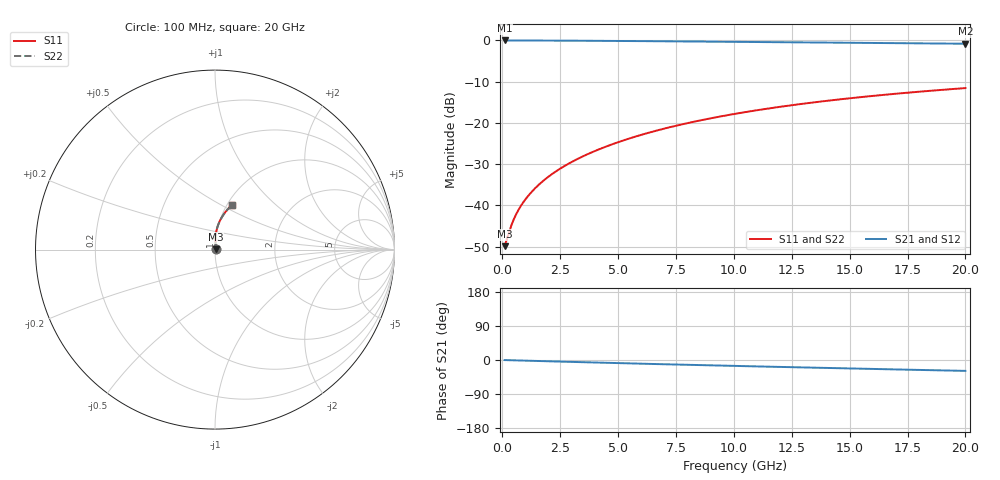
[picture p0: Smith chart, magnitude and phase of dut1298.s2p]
! Touchstone file exported from HFSS 2024.1.0
!  File:  C:/UserFiles/LocalFiles/RDL_TSV_Batchsim/temp_RDL_top_1298_1780243171.aedt
!  Generated:  12:01:45 AM Jun  1, 2026
!  Design:  RDL_top
!  Project:  temp_RDL_top_1298_1780243171
!  Setup:  Setup1
!  Solution:  Sweep
! Variables:
!  dtsv = 10.80580581um
!  hbump = 3um
!  htsv = 90.58um
!  ldown = 100um
!  lrdl = 390.32um
!  p = 40
!  p1 = 49.07um
!  rhole = 1um
!  t = 450um
!  tdown = 3.915915916um
!  trdl = 2.11um
!  wdown = 15.38538539um
!  wrdl = 25.64um
# GHz S MA R 50.000000
! Terminal data exported
! Port[1] = Box2_T1
! Port[2] = Box2_T2
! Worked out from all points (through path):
!   200 points, 100 MHz to 20 GHz, reference 50 ohm
!   highest |S21| = -0.03 dB at 100 MHz (marker M1); lowest = -0.8 dB at 20 GHz (marker M2)
!   group delay of S21, straight-line fit = 3.95 ps
!   lowest |S11| = -49.9 dB at 100 MHz (marker M3), VSWR 1.01, Z = 50.3 + j0.127 ohm
!   |S11| at or under -10 dB: start of sweep to end of sweep
!   |S22| runs from -49.9 to -11.6 dB; largest |S21 - S12| = 3.1e-15
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0.1  0.003212 23.1  0.997 -0.2  0.997 -0.2  0.003212 23.1
! Gamma 0 0 0 0
! Port Impedance 50 0 50 0
0.3  0.004843 49.6  0.9968 -0.5  0.9968 -0.5  0.004843 49.6
0.4  0.005828 56.1  0.9966 -0.7  0.9966 -0.7  0.005829 56.1
0.6  0.007836 63.9  0.9963 -1.1  0.9963 -1.1  0.007837 63.9
0.7  0.008839 66.5  0.9961 -1.2  0.9961 -1.2  0.00884 66.5
0.9  0.01085 70.6  0.9958 -1.6  0.9958 -1.6  0.01085 70.5
1.2  0.0139 74.8  0.9953 -2.1  0.9953 -2.1  0.0139 74.8
1.4  0.01597 76.9  0.9949 -2.4  0.9949 -2.4  0.01598 76.9
1.7  0.01914 79.3  0.9943 -2.9  0.9943 -2.9  0.01914 79.3
2.2  0.02457 82.2  0.9932 -3.7  0.9932 -3.7  0.02457 82.2
2.8  0.03134 84.4  0.9916 -4.7  0.9916 -4.7  0.03134 84.4
3.5  0.03958 86.0  0.9893 -5.8  0.9893 -5.8  0.03956 86.0
4.2  0.04816 87.0  0.9867 -7.0  0.9867 -7.0  0.04814 86.9
5  0.05836 87.5  0.9835 -8.2  0.9835 -8.2  0.05833 87.4
5.9  0.07029 87.5  0.9795 -9.6  0.9795 -9.6  0.07025 87.4
6.8  0.0826 87.1  0.9753 -10.9  0.9753 -10.9  0.08254 87.0
8.4  0.1051 85.7  0.9676 -13.3  0.9676 -13.3  0.105 85.6
10.1  0.1295 83.7  0.9592 -15.7  0.9592 -15.7  0.1294 83.6
11.7  0.1524 81.4  0.9513 -17.9  0.9513 -17.9  0.1523 81.3
13.4  0.1765 79.0  0.9429 -20.2  0.9429 -20.2  0.1763 78.9
16.7  0.2217 74.0  0.9265 -24.5  0.9265 -24.5  0.2214 73.9
20  0.2641 69.3  0.91 -28.7  0.91 -28.7  0.2638 69.1
